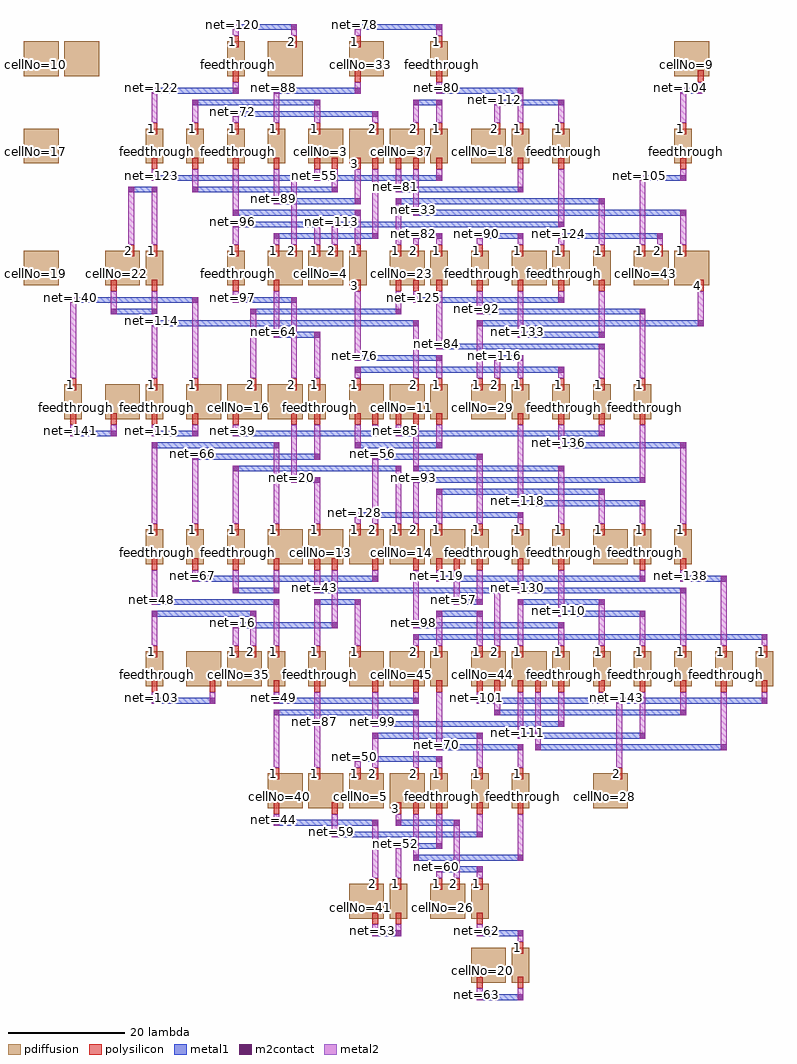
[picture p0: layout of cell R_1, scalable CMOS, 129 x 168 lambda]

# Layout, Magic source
magic
tech scmos
timestamp 1555071736 
<< pdiffusion >>
rect 1 -8 7 -2
rect 8 -8 14 -2
rect 36 -8 39 -2
rect 43 -8 49 -2
rect 57 -8 63 -2
rect 71 -8 74 -2
rect 113 -8 119 -2
rect 1 -23 7 -17
rect 22 -23 25 -17
rect 29 -23 32 -17
rect 36 -23 39 -17
rect 43 -23 46 -17
rect 50 -23 56 -17
rect 57 -23 63 -17
rect 64 -23 70 -17
rect 71 -23 74 -17
rect 78 -23 84 -17
rect 85 -23 88 -17
rect 92 -23 95 -17
rect 113 -23 116 -17
rect 1 -44 7 -38
rect 15 -44 21 -38
rect 22 -44 25 -38
rect 36 -44 39 -38
rect 43 -44 49 -38
rect 50 -44 56 -38
rect 57 -44 60 -38
rect 64 -44 70 -38
rect 71 -44 74 -38
rect 78 -44 81 -38
rect 85 -44 91 -38
rect 92 -44 95 -38
rect 99 -44 102 -38
rect 106 -44 112 -38
rect 113 -44 119 -38
rect 8 -67 11 -61
rect 15 -67 21 -61
rect 22 -67 25 -61
rect 29 -67 35 -61
rect 36 -67 42 -61
rect 43 -67 49 -61
rect 50 -67 53 -61
rect 57 -67 63 -61
rect 64 -67 70 -61
rect 71 -67 74 -61
rect 78 -67 84 -61
rect 85 -67 88 -61
rect 92 -67 95 -61
rect 99 -67 102 -61
rect 106 -67 109 -61
rect 22 -92 25 -86
rect 29 -92 32 -86
rect 36 -92 39 -86
rect 43 -92 49 -86
rect 50 -92 56 -86
rect 57 -92 63 -86
rect 64 -92 70 -86
rect 71 -92 77 -86
rect 78 -92 81 -86
rect 85 -92 88 -86
rect 92 -92 95 -86
rect 99 -92 105 -86
rect 106 -92 109 -86
rect 113 -92 116 -86
rect 22 -113 25 -107
rect 29 -113 35 -107
rect 36 -113 42 -107
rect 43 -113 46 -107
rect 50 -113 53 -107
rect 57 -113 63 -107
rect 64 -113 70 -107
rect 71 -113 74 -107
rect 78 -113 84 -107
rect 85 -113 91 -107
rect 92 -113 95 -107
rect 99 -113 102 -107
rect 106 -113 109 -107
rect 113 -113 116 -107
rect 120 -113 123 -107
rect 127 -113 130 -107
rect 43 -134 49 -128
rect 50 -134 56 -128
rect 57 -134 63 -128
rect 64 -134 70 -128
rect 71 -134 74 -128
rect 78 -134 81 -128
rect 85 -134 88 -128
rect 99 -134 105 -128
rect 57 -153 63 -147
rect 64 -153 67 -147
rect 71 -153 77 -147
rect 78 -153 81 -147
rect 78 -164 84 -158
rect 85 -164 88 -158
<< polysilicon >>
rect 37 -3 38 -1
rect 37 -9 38 -7
rect 47 -3 48 -1
rect 58 -3 59 -1
rect 58 -9 59 -7
rect 72 -3 73 -1
rect 72 -9 73 -7
rect 117 -9 118 -7
rect 23 -18 24 -16
rect 23 -24 24 -22
rect 30 -18 31 -16
rect 30 -24 31 -22
rect 37 -18 38 -16
rect 37 -24 38 -22
rect 44 -18 45 -16
rect 44 -24 45 -22
rect 51 -18 52 -16
rect 51 -24 52 -22
rect 54 -24 55 -22
rect 61 -18 62 -16
rect 58 -24 59 -22
rect 61 -24 62 -22
rect 68 -18 69 -16
rect 65 -24 66 -22
rect 68 -24 69 -22
rect 72 -18 73 -16
rect 72 -24 73 -22
rect 82 -18 83 -16
rect 86 -18 87 -16
rect 86 -24 87 -22
rect 93 -18 94 -16
rect 93 -24 94 -22
rect 114 -18 115 -16
rect 114 -24 115 -22
rect 19 -39 20 -37
rect 16 -45 17 -43
rect 23 -39 24 -37
rect 23 -45 24 -43
rect 37 -39 38 -37
rect 37 -45 38 -43
rect 44 -39 45 -37
rect 47 -39 48 -37
rect 44 -45 45 -43
rect 51 -39 52 -37
rect 54 -39 55 -37
rect 58 -39 59 -37
rect 58 -45 59 -43
rect 65 -39 66 -37
rect 68 -39 69 -37
rect 65 -45 66 -43
rect 68 -45 69 -43
rect 72 -39 73 -37
rect 72 -45 73 -43
rect 79 -39 80 -37
rect 79 -45 80 -43
rect 86 -39 87 -37
rect 86 -45 87 -43
rect 93 -39 94 -37
rect 93 -45 94 -43
rect 100 -39 101 -37
rect 100 -45 101 -43
rect 107 -39 108 -37
rect 110 -39 111 -37
rect 114 -39 115 -37
rect 117 -45 118 -43
rect 9 -62 10 -60
rect 9 -68 10 -66
rect 16 -68 17 -66
rect 23 -62 24 -60
rect 23 -68 24 -66
rect 30 -62 31 -60
rect 30 -68 31 -66
rect 40 -62 41 -60
rect 37 -68 38 -66
rect 47 -62 48 -60
rect 47 -68 48 -66
rect 51 -62 52 -60
rect 51 -68 52 -66
rect 58 -62 59 -60
rect 58 -68 59 -66
rect 61 -68 62 -66
rect 68 -62 69 -60
rect 65 -68 66 -66
rect 68 -68 69 -66
rect 72 -62 73 -60
rect 72 -68 73 -66
rect 79 -62 80 -60
rect 82 -62 83 -60
rect 86 -62 87 -60
rect 86 -68 87 -66
rect 93 -62 94 -60
rect 93 -68 94 -66
rect 100 -62 101 -60
rect 100 -68 101 -66
rect 107 -62 108 -60
rect 107 -68 108 -66
rect 23 -87 24 -85
rect 23 -93 24 -91
rect 30 -87 31 -85
rect 30 -93 31 -91
rect 37 -87 38 -85
rect 37 -93 38 -91
rect 44 -87 45 -85
rect 44 -93 45 -91
rect 51 -87 52 -85
rect 51 -93 52 -91
rect 54 -93 55 -91
rect 58 -87 59 -85
rect 61 -87 62 -85
rect 61 -93 62 -91
rect 65 -87 66 -85
rect 68 -87 69 -85
rect 68 -93 69 -91
rect 72 -87 73 -85
rect 72 -93 73 -91
rect 75 -93 76 -91
rect 79 -87 80 -85
rect 79 -93 80 -91
rect 86 -87 87 -85
rect 86 -93 87 -91
rect 93 -87 94 -85
rect 93 -93 94 -91
rect 100 -87 101 -85
rect 107 -87 108 -85
rect 107 -93 108 -91
rect 114 -87 115 -85
rect 114 -93 115 -91
rect 23 -108 24 -106
rect 23 -114 24 -112
rect 33 -114 34 -112
rect 37 -108 38 -106
rect 40 -108 41 -106
rect 44 -108 45 -106
rect 44 -114 45 -112
rect 51 -108 52 -106
rect 51 -114 52 -112
rect 58 -108 59 -106
rect 61 -114 62 -112
rect 68 -108 69 -106
rect 68 -114 69 -112
rect 72 -108 73 -106
rect 72 -114 73 -112
rect 79 -108 80 -106
rect 82 -108 83 -106
rect 79 -114 80 -112
rect 82 -114 83 -112
rect 86 -108 87 -106
rect 86 -114 87 -112
rect 89 -114 90 -112
rect 93 -108 94 -106
rect 93 -114 94 -112
rect 100 -108 101 -106
rect 100 -114 101 -112
rect 107 -108 108 -106
rect 107 -114 108 -112
rect 114 -108 115 -106
rect 114 -114 115 -112
rect 121 -108 122 -106
rect 121 -114 122 -112
rect 128 -108 129 -106
rect 128 -114 129 -112
rect 44 -129 45 -127
rect 44 -135 45 -133
rect 51 -129 52 -127
rect 54 -135 55 -133
rect 58 -129 59 -127
rect 61 -129 62 -127
rect 68 -129 69 -127
rect 65 -135 66 -133
rect 68 -135 69 -133
rect 72 -129 73 -127
rect 72 -135 73 -133
rect 79 -129 80 -127
rect 79 -135 80 -133
rect 86 -129 87 -127
rect 86 -135 87 -133
rect 103 -129 104 -127
rect 61 -148 62 -146
rect 61 -154 62 -152
rect 65 -148 66 -146
rect 65 -154 66 -152
rect 72 -148 73 -146
rect 75 -148 76 -146
rect 79 -148 80 -146
rect 79 -154 80 -152
rect 79 -165 80 -163
rect 86 -159 87 -157
rect 86 -165 87 -163
<< metal1 >>
rect 37 0 48 1
rect 58 0 73 1
rect 23 -11 38 -10
rect 44 -11 59 -10
rect 72 -11 87 -10
rect 114 -11 118 -10
rect 30 -13 52 -12
rect 68 -13 73 -12
rect 82 -13 94 -12
rect 37 -15 62 -14
rect 23 -26 48 -25
rect 51 -26 73 -25
rect 107 -26 115 -25
rect 19 -28 24 -27
rect 30 -28 55 -27
rect 65 -28 87 -27
rect 44 -30 59 -29
rect 65 -30 101 -29
rect 37 -32 59 -31
rect 68 -32 115 -31
rect 37 -34 52 -33
rect 54 -34 94 -33
rect 44 -36 62 -35
rect 68 -36 73 -35
rect 79 -36 87 -35
rect 93 -36 111 -35
rect 9 -47 31 -46
rect 37 -47 48 -46
rect 68 -47 94 -46
rect 16 -49 24 -48
rect 40 -49 66 -48
rect 79 -49 108 -48
rect 23 -51 69 -50
rect 79 -51 118 -50
rect 44 -53 52 -52
rect 86 -53 101 -52
rect 72 -55 101 -54
rect 58 -57 73 -56
rect 82 -57 87 -56
rect 58 -59 94 -58
rect 9 -70 17 -69
rect 23 -70 31 -69
rect 37 -70 62 -69
rect 65 -70 101 -69
rect 23 -72 45 -71
rect 58 -72 73 -71
rect 93 -72 115 -71
rect 30 -74 52 -73
rect 61 -74 80 -73
rect 37 -76 66 -75
rect 68 -76 94 -75
rect 47 -78 52 -77
rect 68 -78 108 -77
rect 72 -80 101 -79
rect 86 -82 108 -81
rect 58 -84 87 -83
rect 30 -95 62 -94
rect 72 -95 108 -94
rect 114 -95 122 -94
rect 37 -97 45 -96
rect 51 -97 83 -96
rect 86 -97 115 -96
rect 23 -99 45 -98
rect 51 -99 59 -98
rect 75 -99 80 -98
rect 86 -99 101 -98
rect 23 -101 41 -100
rect 72 -101 80 -100
rect 93 -101 108 -100
rect 37 -103 55 -102
rect 68 -103 94 -102
rect 68 -105 129 -104
rect 23 -116 34 -115
rect 44 -116 69 -115
rect 79 -116 101 -115
rect 103 -116 129 -115
rect 44 -118 69 -117
rect 82 -118 115 -117
rect 61 -120 94 -119
rect 61 -122 80 -121
rect 86 -122 108 -121
rect 72 -124 87 -123
rect 89 -124 122 -123
rect 58 -126 73 -125
rect 44 -137 62 -136
rect 65 -137 76 -136
rect 54 -139 80 -138
rect 65 -141 73 -140
rect 68 -143 87 -142
rect 72 -145 80 -144
rect 61 -156 66 -155
rect 79 -156 87 -155
rect 79 -167 87 -166
<< m2contact >>
rect 37 0 38 1
rect 47 0 48 1
rect 58 0 59 1
rect 72 0 73 1
rect 23 -11 24 -10
rect 37 -11 38 -10
rect 44 -11 45 -10
rect 58 -11 59 -10
rect 72 -11 73 -10
rect 86 -11 87 -10
rect 114 -11 115 -10
rect 117 -11 118 -10
rect 30 -13 31 -12
rect 51 -13 52 -12
rect 68 -13 69 -12
rect 72 -13 73 -12
rect 82 -13 83 -12
rect 93 -13 94 -12
rect 37 -15 38 -14
rect 61 -15 62 -14
rect 23 -26 24 -25
rect 47 -26 48 -25
rect 51 -26 52 -25
rect 72 -26 73 -25
rect 107 -26 108 -25
rect 114 -26 115 -25
rect 19 -28 20 -27
rect 23 -28 24 -27
rect 30 -28 31 -27
rect 54 -28 55 -27
rect 65 -28 66 -27
rect 86 -28 87 -27
rect 44 -30 45 -29
rect 58 -30 59 -29
rect 65 -30 66 -29
rect 100 -30 101 -29
rect 37 -32 38 -31
rect 58 -32 59 -31
rect 68 -32 69 -31
rect 114 -32 115 -31
rect 37 -34 38 -33
rect 51 -34 52 -33
rect 54 -34 55 -33
rect 93 -34 94 -33
rect 44 -36 45 -35
rect 61 -36 62 -35
rect 68 -36 69 -35
rect 72 -36 73 -35
rect 79 -36 80 -35
rect 86 -36 87 -35
rect 93 -36 94 -35
rect 110 -36 111 -35
rect 9 -47 10 -46
rect 30 -47 31 -46
rect 37 -47 38 -46
rect 47 -47 48 -46
rect 68 -47 69 -46
rect 93 -47 94 -46
rect 16 -49 17 -48
rect 23 -49 24 -48
rect 40 -49 41 -48
rect 65 -49 66 -48
rect 79 -49 80 -48
rect 107 -49 108 -48
rect 23 -51 24 -50
rect 68 -51 69 -50
rect 79 -51 80 -50
rect 117 -51 118 -50
rect 44 -53 45 -52
rect 51 -53 52 -52
rect 86 -53 87 -52
rect 100 -53 101 -52
rect 72 -55 73 -54
rect 100 -55 101 -54
rect 58 -57 59 -56
rect 72 -57 73 -56
rect 82 -57 83 -56
rect 86 -57 87 -56
rect 58 -59 59 -58
rect 93 -59 94 -58
rect 9 -70 10 -69
rect 16 -70 17 -69
rect 23 -70 24 -69
rect 30 -70 31 -69
rect 37 -70 38 -69
rect 61 -70 62 -69
rect 65 -70 66 -69
rect 100 -70 101 -69
rect 23 -72 24 -71
rect 44 -72 45 -71
rect 58 -72 59 -71
rect 72 -72 73 -71
rect 93 -72 94 -71
rect 114 -72 115 -71
rect 30 -74 31 -73
rect 51 -74 52 -73
rect 61 -74 62 -73
rect 79 -74 80 -73
rect 37 -76 38 -75
rect 65 -76 66 -75
rect 68 -76 69 -75
rect 93 -76 94 -75
rect 47 -78 48 -77
rect 51 -78 52 -77
rect 68 -78 69 -77
rect 107 -78 108 -77
rect 72 -80 73 -79
rect 100 -80 101 -79
rect 86 -82 87 -81
rect 107 -82 108 -81
rect 58 -84 59 -83
rect 86 -84 87 -83
rect 30 -95 31 -94
rect 61 -95 62 -94
rect 72 -95 73 -94
rect 107 -95 108 -94
rect 114 -95 115 -94
rect 121 -95 122 -94
rect 37 -97 38 -96
rect 44 -97 45 -96
rect 51 -97 52 -96
rect 82 -97 83 -96
rect 86 -97 87 -96
rect 114 -97 115 -96
rect 23 -99 24 -98
rect 44 -99 45 -98
rect 51 -99 52 -98
rect 58 -99 59 -98
rect 75 -99 76 -98
rect 79 -99 80 -98
rect 86 -99 87 -98
rect 100 -99 101 -98
rect 23 -101 24 -100
rect 40 -101 41 -100
rect 72 -101 73 -100
rect 79 -101 80 -100
rect 93 -101 94 -100
rect 107 -101 108 -100
rect 37 -103 38 -102
rect 54 -103 55 -102
rect 68 -103 69 -102
rect 93 -103 94 -102
rect 68 -105 69 -104
rect 128 -105 129 -104
rect 23 -116 24 -115
rect 33 -116 34 -115
rect 44 -116 45 -115
rect 68 -116 69 -115
rect 79 -116 80 -115
rect 100 -116 101 -115
rect 103 -116 104 -115
rect 128 -116 129 -115
rect 44 -118 45 -117
rect 68 -118 69 -117
rect 82 -118 83 -117
rect 114 -118 115 -117
rect 61 -120 62 -119
rect 93 -120 94 -119
rect 61 -122 62 -121
rect 79 -122 80 -121
rect 86 -122 87 -121
rect 107 -122 108 -121
rect 72 -124 73 -123
rect 86 -124 87 -123
rect 89 -124 90 -123
rect 121 -124 122 -123
rect 58 -126 59 -125
rect 72 -126 73 -125
rect 44 -137 45 -136
rect 61 -137 62 -136
rect 65 -137 66 -136
rect 75 -137 76 -136
rect 54 -139 55 -138
rect 79 -139 80 -138
rect 65 -141 66 -140
rect 72 -141 73 -140
rect 68 -143 69 -142
rect 86 -143 87 -142
rect 72 -145 73 -144
rect 79 -145 80 -144
rect 61 -156 62 -155
rect 65 -156 66 -155
rect 79 -156 80 -155
rect 86 -156 87 -155
rect 79 -167 80 -166
rect 86 -167 87 -166
<< metal2 >>
rect 37 -1 38 1
rect 47 -1 48 1
rect 58 -1 59 1
rect 72 -1 73 1
rect 23 -16 24 -10
rect 37 -11 38 -9
rect 44 -16 45 -10
rect 58 -11 59 -9
rect 72 -11 73 -9
rect 86 -16 87 -10
rect 114 -16 115 -10
rect 117 -11 118 -9
rect 30 -16 31 -12
rect 51 -16 52 -12
rect 68 -16 69 -12
rect 72 -16 73 -12
rect 82 -16 83 -12
rect 93 -16 94 -12
rect 37 -16 38 -14
rect 61 -16 62 -14
rect 23 -26 24 -24
rect 47 -37 48 -25
rect 51 -26 52 -24
rect 72 -26 73 -24
rect 107 -37 108 -25
rect 114 -26 115 -24
rect 19 -37 20 -27
rect 23 -37 24 -27
rect 30 -28 31 -24
rect 54 -28 55 -24
rect 65 -28 66 -24
rect 86 -28 87 -24
rect 44 -30 45 -24
rect 58 -30 59 -24
rect 65 -37 66 -29
rect 100 -37 101 -29
rect 37 -32 38 -24
rect 58 -37 59 -31
rect 68 -32 69 -24
rect 114 -37 115 -31
rect 37 -37 38 -33
rect 51 -37 52 -33
rect 54 -37 55 -33
rect 93 -34 94 -24
rect 44 -37 45 -35
rect 61 -36 62 -24
rect 68 -37 69 -35
rect 72 -37 73 -35
rect 79 -37 80 -35
rect 86 -37 87 -35
rect 93 -37 94 -35
rect 110 -37 111 -35
rect 9 -60 10 -46
rect 30 -60 31 -46
rect 37 -47 38 -45
rect 47 -60 48 -46
rect 68 -47 69 -45
rect 93 -47 94 -45
rect 16 -49 17 -45
rect 23 -49 24 -45
rect 40 -60 41 -48
rect 65 -49 66 -45
rect 79 -49 80 -45
rect 107 -60 108 -48
rect 23 -60 24 -50
rect 68 -60 69 -50
rect 79 -60 80 -50
rect 117 -51 118 -45
rect 44 -53 45 -45
rect 51 -60 52 -52
rect 86 -53 87 -45
rect 100 -53 101 -45
rect 72 -55 73 -45
rect 100 -60 101 -54
rect 58 -57 59 -45
rect 72 -60 73 -56
rect 82 -60 83 -56
rect 86 -60 87 -56
rect 58 -60 59 -58
rect 93 -60 94 -58
rect 9 -70 10 -68
rect 16 -70 17 -68
rect 23 -70 24 -68
rect 30 -70 31 -68
rect 37 -70 38 -68
rect 61 -70 62 -68
rect 65 -70 66 -68
rect 100 -70 101 -68
rect 23 -85 24 -71
rect 44 -85 45 -71
rect 58 -72 59 -68
rect 72 -72 73 -68
rect 93 -72 94 -68
rect 114 -85 115 -71
rect 30 -85 31 -73
rect 51 -74 52 -68
rect 61 -85 62 -73
rect 79 -85 80 -73
rect 37 -85 38 -75
rect 65 -85 66 -75
rect 68 -76 69 -68
rect 93 -85 94 -75
rect 47 -78 48 -68
rect 51 -85 52 -77
rect 68 -85 69 -77
rect 107 -78 108 -68
rect 72 -85 73 -79
rect 100 -85 101 -79
rect 86 -82 87 -68
rect 107 -85 108 -81
rect 58 -85 59 -83
rect 86 -85 87 -83
rect 30 -95 31 -93
rect 61 -95 62 -93
rect 72 -95 73 -93
rect 107 -95 108 -93
rect 114 -95 115 -93
rect 121 -106 122 -94
rect 37 -97 38 -93
rect 44 -97 45 -93
rect 51 -97 52 -93
rect 82 -106 83 -96
rect 86 -97 87 -93
rect 114 -106 115 -96
rect 23 -99 24 -93
rect 44 -106 45 -98
rect 51 -106 52 -98
rect 58 -106 59 -98
rect 75 -99 76 -93
rect 79 -99 80 -93
rect 86 -106 87 -98
rect 100 -106 101 -98
rect 23 -106 24 -100
rect 40 -106 41 -100
rect 72 -106 73 -100
rect 79 -106 80 -100
rect 93 -101 94 -93
rect 107 -106 108 -100
rect 37 -106 38 -102
rect 54 -103 55 -93
rect 68 -103 69 -93
rect 93 -106 94 -102
rect 68 -106 69 -104
rect 128 -106 129 -104
rect 23 -116 24 -114
rect 33 -116 34 -114
rect 44 -116 45 -114
rect 68 -116 69 -114
rect 79 -116 80 -114
rect 100 -116 101 -114
rect 103 -127 104 -115
rect 128 -116 129 -114
rect 44 -127 45 -117
rect 68 -127 69 -117
rect 82 -118 83 -114
rect 114 -118 115 -114
rect 51 -120 52 -114
rect 51 -127 52 -119
rect 51 -120 52 -114
rect 51 -127 52 -119
rect 61 -120 62 -114
rect 93 -120 94 -114
rect 61 -127 62 -121
rect 79 -127 80 -121
rect 86 -122 87 -114
rect 107 -122 108 -114
rect 72 -124 73 -114
rect 86 -127 87 -123
rect 89 -124 90 -114
rect 121 -124 122 -114
rect 58 -127 59 -125
rect 72 -127 73 -125
rect 44 -137 45 -135
rect 61 -146 62 -136
rect 65 -137 66 -135
rect 75 -146 76 -136
rect 54 -139 55 -135
rect 79 -139 80 -135
rect 65 -146 66 -140
rect 72 -141 73 -135
rect 68 -143 69 -135
rect 86 -143 87 -135
rect 72 -146 73 -144
rect 79 -146 80 -144
rect 61 -156 62 -154
rect 65 -156 66 -154
rect 79 -156 80 -154
rect 86 -157 87 -155
rect 79 -167 80 -165
rect 86 -167 87 -165
<< labels >>
rlabel pdiffusion 3 -6 3 -6 0 cellNo=10
rlabel pdiffusion 10 -6 10 -6 0 cellNo=12
rlabel pdiffusion 38 -6 38 -6 0 feedthrough
rlabel pdiffusion 45 -6 45 -6 0 cellNo=21
rlabel pdiffusion 59 -6 59 -6 0 cellNo=33
rlabel pdiffusion 73 -6 73 -6 0 feedthrough
rlabel pdiffusion 115 -6 115 -6 0 cellNo=9
rlabel pdiffusion 3 -21 3 -21 0 cellNo=17
rlabel pdiffusion 24 -21 24 -21 0 feedthrough
rlabel pdiffusion 31 -21 31 -21 0 feedthrough
rlabel pdiffusion 38 -21 38 -21 0 feedthrough
rlabel pdiffusion 45 -21 45 -21 0 feedthrough
rlabel pdiffusion 52 -21 52 -21 0 cellNo=3
rlabel pdiffusion 59 -21 59 -21 0 cellNo=34
rlabel pdiffusion 66 -21 66 -21 0 cellNo=37
rlabel pdiffusion 73 -21 73 -21 0 feedthrough
rlabel pdiffusion 80 -21 80 -21 0 cellNo=18
rlabel pdiffusion 87 -21 87 -21 0 feedthrough
rlabel pdiffusion 94 -21 94 -21 0 feedthrough
rlabel pdiffusion 115 -21 115 -21 0 feedthrough
rlabel pdiffusion 3 -42 3 -42 0 cellNo=19
rlabel pdiffusion 17 -42 17 -42 0 cellNo=22
rlabel pdiffusion 24 -42 24 -42 0 feedthrough
rlabel pdiffusion 38 -42 38 -42 0 feedthrough
rlabel pdiffusion 45 -42 45 -42 0 cellNo=8
rlabel pdiffusion 52 -42 52 -42 0 cellNo=4
rlabel pdiffusion 59 -42 59 -42 0 feedthrough
rlabel pdiffusion 66 -42 66 -42 0 cellNo=23
rlabel pdiffusion 73 -42 73 -42 0 feedthrough
rlabel pdiffusion 80 -42 80 -42 0 feedthrough
rlabel pdiffusion 87 -42 87 -42 0 cellNo=2
rlabel pdiffusion 94 -42 94 -42 0 feedthrough
rlabel pdiffusion 101 -42 101 -42 0 feedthrough
rlabel pdiffusion 108 -42 108 -42 0 cellNo=43
rlabel pdiffusion 115 -42 115 -42 0 cellNo=25
rlabel pdiffusion 10 -65 10 -65 0 feedthrough
rlabel pdiffusion 17 -65 17 -65 0 cellNo=6
rlabel pdiffusion 24 -65 24 -65 0 feedthrough
rlabel pdiffusion 31 -65 31 -65 0 cellNo=24
rlabel pdiffusion 38 -65 38 -65 0 cellNo=16
rlabel pdiffusion 45 -65 45 -65 0 cellNo=7
rlabel pdiffusion 52 -65 52 -65 0 feedthrough
rlabel pdiffusion 59 -65 59 -65 0 cellNo=32
rlabel pdiffusion 66 -65 66 -65 0 cellNo=11
rlabel pdiffusion 73 -65 73 -65 0 feedthrough
rlabel pdiffusion 80 -65 80 -65 0 cellNo=29
rlabel pdiffusion 87 -65 87 -65 0 feedthrough
rlabel pdiffusion 94 -65 94 -65 0 feedthrough
rlabel pdiffusion 101 -65 101 -65 0 feedthrough
rlabel pdiffusion 108 -65 108 -65 0 feedthrough
rlabel pdiffusion 24 -90 24 -90 0 feedthrough
rlabel pdiffusion 31 -90 31 -90 0 feedthrough
rlabel pdiffusion 38 -90 38 -90 0 feedthrough
rlabel pdiffusion 45 -90 45 -90 0 cellNo=42
rlabel pdiffusion 52 -90 52 -90 0 cellNo=13
rlabel pdiffusion 59 -90 59 -90 0 cellNo=31
rlabel pdiffusion 66 -90 66 -90 0 cellNo=14
rlabel pdiffusion 73 -90 73 -90 0 cellNo=38
rlabel pdiffusion 80 -90 80 -90 0 feedthrough
rlabel pdiffusion 87 -90 87 -90 0 feedthrough
rlabel pdiffusion 94 -90 94 -90 0 feedthrough
rlabel pdiffusion 101 -90 101 -90 0 cellNo=1
rlabel pdiffusion 108 -90 108 -90 0 feedthrough
rlabel pdiffusion 115 -90 115 -90 0 feedthrough
rlabel pdiffusion 24 -111 24 -111 0 feedthrough
rlabel pdiffusion 31 -111 31 -111 0 cellNo=30
rlabel pdiffusion 38 -111 38 -111 0 cellNo=35
rlabel pdiffusion 45 -111 45 -111 0 feedthrough
rlabel pdiffusion 52 -111 52 -111 0 feedthrough
rlabel pdiffusion 59 -111 59 -111 0 cellNo=15
rlabel pdiffusion 66 -111 66 -111 0 cellNo=45
rlabel pdiffusion 73 -111 73 -111 0 feedthrough
rlabel pdiffusion 80 -111 80 -111 0 cellNo=44
rlabel pdiffusion 87 -111 87 -111 0 cellNo=36
rlabel pdiffusion 94 -111 94 -111 0 feedthrough
rlabel pdiffusion 101 -111 101 -111 0 feedthrough
rlabel pdiffusion 108 -111 108 -111 0 feedthrough
rlabel pdiffusion 115 -111 115 -111 0 feedthrough
rlabel pdiffusion 122 -111 122 -111 0 feedthrough
rlabel pdiffusion 129 -111 129 -111 0 feedthrough
rlabel pdiffusion 45 -132 45 -132 0 cellNo=40
rlabel pdiffusion 52 -132 52 -132 0 cellNo=27
rlabel pdiffusion 59 -132 59 -132 0 cellNo=5
rlabel pdiffusion 66 -132 66 -132 0 cellNo=39
rlabel pdiffusion 73 -132 73 -132 0 feedthrough
rlabel pdiffusion 80 -132 80 -132 0 feedthrough
rlabel pdiffusion 87 -132 87 -132 0 feedthrough
rlabel pdiffusion 101 -132 101 -132 0 cellNo=28
rlabel pdiffusion 59 -151 59 -151 0 cellNo=41
rlabel pdiffusion 66 -151 66 -151 0 feedthrough
rlabel pdiffusion 73 -151 73 -151 0 cellNo=26
rlabel pdiffusion 80 -151 80 -151 0 feedthrough
rlabel pdiffusion 80 -162 80 -162 0 cellNo=20
rlabel pdiffusion 87 -162 87 -162 0 feedthrough
rlabel polysilicon 37 -2 37 -2 0 1
rlabel polysilicon 37 -8 37 -8 0 3
rlabel polysilicon 47 -2 47 -2 0 2
rlabel polysilicon 58 -2 58 -2 0 1
rlabel polysilicon 58 -8 58 -8 0 3
rlabel polysilicon 72 -2 72 -2 0 1
rlabel polysilicon 72 -8 72 -8 0 3
rlabel polysilicon 117 -8 117 -8 0 4
rlabel polysilicon 23 -17 23 -17 0 1
rlabel polysilicon 23 -23 23 -23 0 3
rlabel polysilicon 30 -17 30 -17 0 1
rlabel polysilicon 30 -23 30 -23 0 3
rlabel polysilicon 37 -17 37 -17 0 1
rlabel polysilicon 37 -23 37 -23 0 3
rlabel polysilicon 44 -17 44 -17 0 1
rlabel polysilicon 44 -23 44 -23 0 3
rlabel polysilicon 51 -17 51 -17 0 1
rlabel polysilicon 51 -23 51 -23 0 3
rlabel polysilicon 54 -23 54 -23 0 4
rlabel polysilicon 61 -17 61 -17 0 2
rlabel polysilicon 58 -23 58 -23 0 3
rlabel polysilicon 61 -23 61 -23 0 4
rlabel polysilicon 68 -17 68 -17 0 2
rlabel polysilicon 65 -23 65 -23 0 3
rlabel polysilicon 68 -23 68 -23 0 4
rlabel polysilicon 72 -17 72 -17 0 1
rlabel polysilicon 72 -23 72 -23 0 3
rlabel polysilicon 82 -17 82 -17 0 2
rlabel polysilicon 86 -17 86 -17 0 1
rlabel polysilicon 86 -23 86 -23 0 3
rlabel polysilicon 93 -17 93 -17 0 1
rlabel polysilicon 93 -23 93 -23 0 3
rlabel polysilicon 114 -17 114 -17 0 1
rlabel polysilicon 114 -23 114 -23 0 3
rlabel polysilicon 19 -38 19 -38 0 2
rlabel polysilicon 16 -44 16 -44 0 3
rlabel polysilicon 23 -38 23 -38 0 1
rlabel polysilicon 23 -44 23 -44 0 3
rlabel polysilicon 37 -38 37 -38 0 1
rlabel polysilicon 37 -44 37 -44 0 3
rlabel polysilicon 44 -38 44 -38 0 1
rlabel polysilicon 47 -38 47 -38 0 2
rlabel polysilicon 44 -44 44 -44 0 3
rlabel polysilicon 51 -38 51 -38 0 1
rlabel polysilicon 54 -38 54 -38 0 2
rlabel polysilicon 58 -38 58 -38 0 1
rlabel polysilicon 58 -44 58 -44 0 3
rlabel polysilicon 65 -38 65 -38 0 1
rlabel polysilicon 68 -38 68 -38 0 2
rlabel polysilicon 65 -44 65 -44 0 3
rlabel polysilicon 68 -44 68 -44 0 4
rlabel polysilicon 72 -38 72 -38 0 1
rlabel polysilicon 72 -44 72 -44 0 3
rlabel polysilicon 79 -38 79 -38 0 1
rlabel polysilicon 79 -44 79 -44 0 3
rlabel polysilicon 86 -38 86 -38 0 1
rlabel polysilicon 86 -44 86 -44 0 3
rlabel polysilicon 93 -38 93 -38 0 1
rlabel polysilicon 93 -44 93 -44 0 3
rlabel polysilicon 100 -38 100 -38 0 1
rlabel polysilicon 100 -44 100 -44 0 3
rlabel polysilicon 107 -38 107 -38 0 1
rlabel polysilicon 110 -38 110 -38 0 2
rlabel polysilicon 114 -38 114 -38 0 1
rlabel polysilicon 117 -44 117 -44 0 4
rlabel polysilicon 9 -61 9 -61 0 1
rlabel polysilicon 9 -67 9 -67 0 3
rlabel polysilicon 16 -67 16 -67 0 3
rlabel polysilicon 23 -61 23 -61 0 1
rlabel polysilicon 23 -67 23 -67 0 3
rlabel polysilicon 30 -61 30 -61 0 1
rlabel polysilicon 30 -67 30 -67 0 3
rlabel polysilicon 40 -61 40 -61 0 2
rlabel polysilicon 37 -67 37 -67 0 3
rlabel polysilicon 47 -61 47 -61 0 2
rlabel polysilicon 47 -67 47 -67 0 4
rlabel polysilicon 51 -61 51 -61 0 1
rlabel polysilicon 51 -67 51 -67 0 3
rlabel polysilicon 58 -61 58 -61 0 1
rlabel polysilicon 58 -67 58 -67 0 3
rlabel polysilicon 61 -67 61 -67 0 4
rlabel polysilicon 68 -61 68 -61 0 2
rlabel polysilicon 65 -67 65 -67 0 3
rlabel polysilicon 68 -67 68 -67 0 4
rlabel polysilicon 72 -61 72 -61 0 1
rlabel polysilicon 72 -67 72 -67 0 3
rlabel polysilicon 79 -61 79 -61 0 1
rlabel polysilicon 82 -61 82 -61 0 2
rlabel polysilicon 86 -61 86 -61 0 1
rlabel polysilicon 86 -67 86 -67 0 3
rlabel polysilicon 93 -61 93 -61 0 1
rlabel polysilicon 93 -67 93 -67 0 3
rlabel polysilicon 100 -61 100 -61 0 1
rlabel polysilicon 100 -67 100 -67 0 3
rlabel polysilicon 107 -61 107 -61 0 1
rlabel polysilicon 107 -67 107 -67 0 3
rlabel polysilicon 23 -86 23 -86 0 1
rlabel polysilicon 23 -92 23 -92 0 3
rlabel polysilicon 30 -86 30 -86 0 1
rlabel polysilicon 30 -92 30 -92 0 3
rlabel polysilicon 37 -86 37 -86 0 1
rlabel polysilicon 37 -92 37 -92 0 3
rlabel polysilicon 44 -86 44 -86 0 1
rlabel polysilicon 44 -92 44 -92 0 3
rlabel polysilicon 51 -86 51 -86 0 1
rlabel polysilicon 51 -92 51 -92 0 3
rlabel polysilicon 54 -92 54 -92 0 4
rlabel polysilicon 58 -86 58 -86 0 1
rlabel polysilicon 61 -86 61 -86 0 2
rlabel polysilicon 61 -92 61 -92 0 4
rlabel polysilicon 65 -86 65 -86 0 1
rlabel polysilicon 68 -86 68 -86 0 2
rlabel polysilicon 68 -92 68 -92 0 4
rlabel polysilicon 72 -86 72 -86 0 1
rlabel polysilicon 72 -92 72 -92 0 3
rlabel polysilicon 75 -92 75 -92 0 4
rlabel polysilicon 79 -86 79 -86 0 1
rlabel polysilicon 79 -92 79 -92 0 3
rlabel polysilicon 86 -86 86 -86 0 1
rlabel polysilicon 86 -92 86 -92 0 3
rlabel polysilicon 93 -86 93 -86 0 1
rlabel polysilicon 93 -92 93 -92 0 3
rlabel polysilicon 100 -86 100 -86 0 1
rlabel polysilicon 107 -86 107 -86 0 1
rlabel polysilicon 107 -92 107 -92 0 3
rlabel polysilicon 114 -86 114 -86 0 1
rlabel polysilicon 114 -92 114 -92 0 3
rlabel polysilicon 23 -107 23 -107 0 1
rlabel polysilicon 23 -113 23 -113 0 3
rlabel polysilicon 33 -113 33 -113 0 4
rlabel polysilicon 37 -107 37 -107 0 1
rlabel polysilicon 40 -107 40 -107 0 2
rlabel polysilicon 44 -107 44 -107 0 1
rlabel polysilicon 44 -113 44 -113 0 3
rlabel polysilicon 51 -107 51 -107 0 1
rlabel polysilicon 51 -113 51 -113 0 3
rlabel polysilicon 58 -107 58 -107 0 1
rlabel polysilicon 61 -113 61 -113 0 4
rlabel polysilicon 68 -107 68 -107 0 2
rlabel polysilicon 68 -113 68 -113 0 4
rlabel polysilicon 72 -107 72 -107 0 1
rlabel polysilicon 72 -113 72 -113 0 3
rlabel polysilicon 79 -107 79 -107 0 1
rlabel polysilicon 82 -107 82 -107 0 2
rlabel polysilicon 79 -113 79 -113 0 3
rlabel polysilicon 82 -113 82 -113 0 4
rlabel polysilicon 86 -107 86 -107 0 1
rlabel polysilicon 86 -113 86 -113 0 3
rlabel polysilicon 89 -113 89 -113 0 4
rlabel polysilicon 93 -107 93 -107 0 1
rlabel polysilicon 93 -113 93 -113 0 3
rlabel polysilicon 100 -107 100 -107 0 1
rlabel polysilicon 100 -113 100 -113 0 3
rlabel polysilicon 107 -107 107 -107 0 1
rlabel polysilicon 107 -113 107 -113 0 3
rlabel polysilicon 114 -107 114 -107 0 1
rlabel polysilicon 114 -113 114 -113 0 3
rlabel polysilicon 121 -107 121 -107 0 1
rlabel polysilicon 121 -113 121 -113 0 3
rlabel polysilicon 128 -107 128 -107 0 1
rlabel polysilicon 128 -113 128 -113 0 3
rlabel polysilicon 44 -128 44 -128 0 1
rlabel polysilicon 44 -134 44 -134 0 3
rlabel polysilicon 51 -128 51 -128 0 1
rlabel polysilicon 54 -134 54 -134 0 4
rlabel polysilicon 58 -128 58 -128 0 1
rlabel polysilicon 61 -128 61 -128 0 2
rlabel polysilicon 68 -128 68 -128 0 2
rlabel polysilicon 65 -134 65 -134 0 3
rlabel polysilicon 68 -134 68 -134 0 4
rlabel polysilicon 72 -128 72 -128 0 1
rlabel polysilicon 72 -134 72 -134 0 3
rlabel polysilicon 79 -128 79 -128 0 1
rlabel polysilicon 79 -134 79 -134 0 3
rlabel polysilicon 86 -128 86 -128 0 1
rlabel polysilicon 86 -134 86 -134 0 3
rlabel polysilicon 103 -128 103 -128 0 2
rlabel polysilicon 61 -147 61 -147 0 2
rlabel polysilicon 61 -153 61 -153 0 4
rlabel polysilicon 65 -147 65 -147 0 1
rlabel polysilicon 65 -153 65 -153 0 3
rlabel polysilicon 72 -147 72 -147 0 1
rlabel polysilicon 75 -147 75 -147 0 2
rlabel polysilicon 79 -147 79 -147 0 1
rlabel polysilicon 79 -153 79 -153 0 3
rlabel polysilicon 79 -164 79 -164 0 3
rlabel polysilicon 86 -158 86 -158 0 1
rlabel polysilicon 86 -164 86 -164 0 3
rlabel metal2 37 1 37 1 0 net=120
rlabel metal2 58 1 58 1 0 net=78
rlabel metal2 23 -10 23 -10 0 net=122
rlabel metal2 44 -10 44 -10 0 net=88
rlabel metal2 72 -10 72 -10 0 net=80
rlabel metal2 114 -10 114 -10 0 net=104
rlabel metal2 30 -12 30 -12 0 net=94
rlabel metal2 68 -12 68 -12 0 net=54
rlabel metal2 82 -12 82 -12 0 net=112
rlabel metal2 37 -14 37 -14 0 net=72
rlabel metal2 23 -25 23 -25 0 net=123
rlabel metal2 51 -25 51 -25 0 net=55
rlabel metal2 107 -25 107 -25 0 net=105
rlabel metal2 19 -27 19 -27 0 net=126
rlabel metal2 30 -27 30 -27 0 net=95
rlabel metal2 65 -27 65 -27 0 net=81
rlabel metal2 44 -29 44 -29 0 net=89
rlabel metal2 65 -29 65 -29 0 net=132
rlabel metal2 37 -31 37 -31 0 net=74
rlabel metal2 68 -31 68 -31 0 net=33
rlabel metal2 37 -33 37 -33 0 net=96
rlabel metal2 54 -33 54 -33 0 net=113
rlabel metal2 44 -35 44 -35 0 net=40
rlabel metal2 68 -35 68 -35 0 net=82
rlabel metal2 79 -35 79 -35 0 net=90
rlabel metal2 93 -35 93 -35 0 net=124
rlabel metal2 9 -46 9 -46 0 net=140
rlabel metal2 37 -46 37 -46 0 net=97
rlabel metal2 68 -46 68 -46 0 net=125
rlabel metal2 16 -48 16 -48 0 net=127
rlabel metal2 40 -48 40 -48 0 net=7
rlabel metal2 79 -48 79 -48 0 net=92
rlabel metal2 23 -50 23 -50 0 net=114
rlabel metal2 79 -50 79 -50 0 net=37
rlabel metal2 44 -52 44 -52 0 net=64
rlabel metal2 86 -52 86 -52 0 net=133
rlabel metal2 72 -54 72 -54 0 net=84
rlabel metal2 58 -56 58 -56 0 net=76
rlabel metal2 82 -56 82 -56 0 net=116
rlabel metal2 58 -58 58 -58 0 net=134
rlabel metal2 9 -69 9 -69 0 net=141
rlabel metal2 23 -69 23 -69 0 net=115
rlabel metal2 37 -69 37 -69 0 net=39
rlabel metal2 65 -69 65 -69 0 net=85
rlabel metal2 23 -71 23 -71 0 net=46
rlabel metal2 58 -71 58 -71 0 net=77
rlabel metal2 93 -71 93 -71 0 net=136
rlabel metal2 30 -73 30 -73 0 net=66
rlabel metal2 61 -73 61 -73 0 net=56
rlabel metal2 37 -75 37 -75 0 net=106
rlabel metal2 68 -75 68 -75 0 net=108
rlabel metal2 47 -77 47 -77 0 net=20
rlabel metal2 68 -77 68 -77 0 net=93
rlabel metal2 72 -79 72 -79 0 net=5
rlabel metal2 86 -81 86 -81 0 net=118
rlabel metal2 58 -83 58 -83 0 net=128
rlabel metal2 30 -94 30 -94 0 net=67
rlabel metal2 72 -94 72 -94 0 net=119
rlabel metal2 114 -94 114 -94 0 net=138
rlabel metal2 37 -96 37 -96 0 net=107
rlabel metal2 51 -96 51 -96 0 net=43
rlabel metal2 86 -96 86 -96 0 net=130
rlabel metal2 23 -98 23 -98 0 net=48
rlabel metal2 51 -98 51 -98 0 net=86
rlabel metal2 75 -98 75 -98 0 net=57
rlabel metal2 86 -98 86 -98 0 net=100
rlabel metal2 23 -100 23 -100 0 net=102
rlabel metal2 72 -100 72 -100 0 net=68
rlabel metal2 93 -100 93 -100 0 net=110
rlabel metal2 37 -102 37 -102 0 net=16
rlabel metal2 68 -102 68 -102 0 net=98
rlabel metal2 68 -104 68 -104 0 net=142
rlabel metal2 23 -115 23 -115 0 net=103
rlabel metal2 44 -115 44 -115 0 net=49
rlabel metal2 79 -115 79 -115 0 net=101
rlabel metal2 103 -115 103 -115 0 net=143
rlabel metal2 44 -117 44 -117 0 net=14
rlabel metal2 82 -117 82 -117 0 net=131
rlabel metal2 51 -119 51 -119 0 net=87
rlabel metal2 51 -119 51 -119 0 net=87
rlabel metal2 61 -119 61 -119 0 net=99
rlabel metal2 61 -121 61 -121 0 net=58
rlabel metal2 86 -121 86 -121 0 net=111
rlabel metal2 72 -123 72 -123 0 net=70
rlabel metal2 89 -123 89 -123 0 net=139
rlabel metal2 58 -125 58 -125 0 net=50
rlabel metal2 44 -136 44 -136 0 net=44
rlabel metal2 65 -136 65 -136 0 net=10
rlabel metal2 54 -138 54 -138 0 net=59
rlabel metal2 65 -140 65 -140 0 net=52
rlabel metal2 68 -142 68 -142 0 net=71
rlabel metal2 72 -144 72 -144 0 net=60
rlabel metal2 61 -155 61 -155 0 net=53
rlabel metal2 79 -155 79 -155 0 net=62
rlabel metal2 79 -166 79 -166 0 net=63
<< end >>
